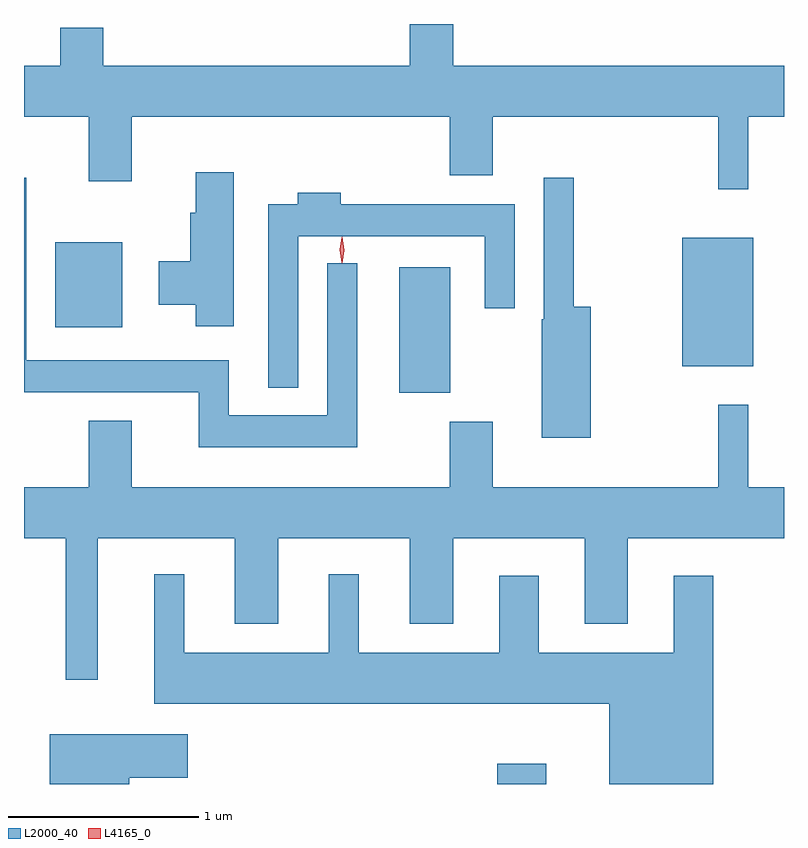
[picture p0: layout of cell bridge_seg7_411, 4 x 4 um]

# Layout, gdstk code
import gdstk
lib = gdstk.Library(unit=1e-6, precision=1e-09)
def R(c, l, rs):  # rectangles x0, y0, x1, y1
    for r in rs: c.add(gdstk.rectangle(r[:2], r[2:], *l))
def P(c, l, *ps):  # polygons
    for p in ps: c.add(gdstk.Polygon(p, *l))
L2000_40 = (2000, 40)
L4165_0 = (4165, 0)

bridge_seg7_411 = lib.new_cell('bridge_seg7_411')
R(bridge_seg7_411, L2000_40, [(1158.531,1717.463,1158.789,1717.569), (1158.016,1719.521,1158.284,1720.184), (1159.506,1719.661,1159.879,1720.339), (1156.206,1719.866,1156.559,1720.314)])
P(bridge_seg7_411, L2000_40, [(1159.854,1720.976),(1160.041,1720.976),(1160.041,1721.244),(1158.299,1721.244),(1158.299,1721.463),(1158.071,1721.463),(1158.071,1721.244),(1156.459,1721.244),(1156.459,1721.444),(1156.231,1721.444),(1156.231,1721.244),(1156.041,1721.244),(1156.041,1720.976),(1156.381,1720.976),(1156.381,1720.636),(1156.609,1720.636),(1156.609,1720.976),(1158.281,1720.976),(1158.281,1720.666),(1158.509,1720.666),(1158.509,1720.976),(1159.696,1720.976),(1159.696,1720.593),(1159.854,1720.593)],
  [(1157.144,1720.684),(1156.946,1720.684),(1156.946,1720.469),(1156.916,1720.469),(1156.916,1720.214),(1156.751,1720.214),(1156.751,1719.986),(1156.946,1719.986),(1156.946,1719.871),(1157.144,1719.871)],
  [(1157.794,1720.203),(1157.636,1720.203),(1157.636,1719.404),(1157.119,1719.404),(1157.119,1719.694),(1156.054,1719.694),(1156.054,1720.653),(1156.041,1720.653),(1156.041,1719.526),(1156.961,1719.526),(1156.961,1719.236),(1157.794,1719.236)],
  [(1159.024,1719.974),(1158.934,1719.974),(1158.934,1720.653),(1158.776,1720.653),(1158.776,1719.91),(1158.766,1719.91),(1158.766,1719.286),(1159.024,1719.286)],
  [(1157.484,1720.346),(1158.466,1720.346),(1158.466,1719.968),(1158.624,1719.968),(1158.624,1720.514),(1157.709,1720.514),(1157.709,1720.574),(1157.481,1720.574),(1157.481,1720.514),(1157.326,1720.514),(1157.326,1719.548),(1157.484,1719.548)],
  [(1156.429,1718.756),(1157.151,1718.756),(1157.151,1718.306),(1157.379,1718.306),(1157.379,1718.756),(1158.071,1718.756),(1158.071,1718.306),(1158.299,1718.306),(1158.299,1718.756),(1158.991,1718.756),(1158.991,1718.306),(1159.219,1718.306),(1159.219,1718.756),(1160.041,1718.756),(1160.041,1719.024),(1159.854,1719.024),(1159.854,1719.458),(1159.696,1719.458),(1159.696,1719.024),(1158.509,1719.024),(1158.509,1719.369),(1158.281,1719.369),(1158.281,1719.024),(1156.609,1719.024),(1156.609,1719.374),(1156.381,1719.374),(1156.381,1719.024),(1156.041,1719.024),(1156.041,1718.756),(1156.261,1718.756),(1156.261,1718.013),(1156.429,1718.013)],
  [(1159.669,1718.559),(1159.461,1718.559),(1159.461,1718.154),(1158.749,1718.154),(1158.749,1718.559),(1158.541,1718.559),(1158.541,1718.154),(1157.804,1718.154),(1157.804,1718.568),(1157.646,1718.568),(1157.646,1718.154),(1156.884,1718.154),(1156.884,1718.568),(1156.726,1718.568),(1156.726,1717.886),(1159.121,1717.886),(1159.121,1717.463),(1159.669,1717.463)],
  [(1156.594,1717.496),(1156.904,1717.496),(1156.904,1717.724),(1156.176,1717.724),(1156.176,1717.463),(1156.594,1717.463)])
P(bridge_seg7_411, L4165_0, [(1157.714,1720.207),(1157.714,1720.207),(1157.704,1720.274),(1157.714,1720.34),(1157.714,1720.341),(1157.715,1720.34),(1157.724,1720.274),(1157.715,1720.207)],
  [(1157.716,1720.204),(1157.716,1720.204),(1157.706,1720.273),(1157.716,1720.342),(1157.716,1720.343),(1157.717,1720.342),(1157.726,1720.273),(1157.717,1720.204)])

lib.write_gds('bridge_seg7_411.gds')
